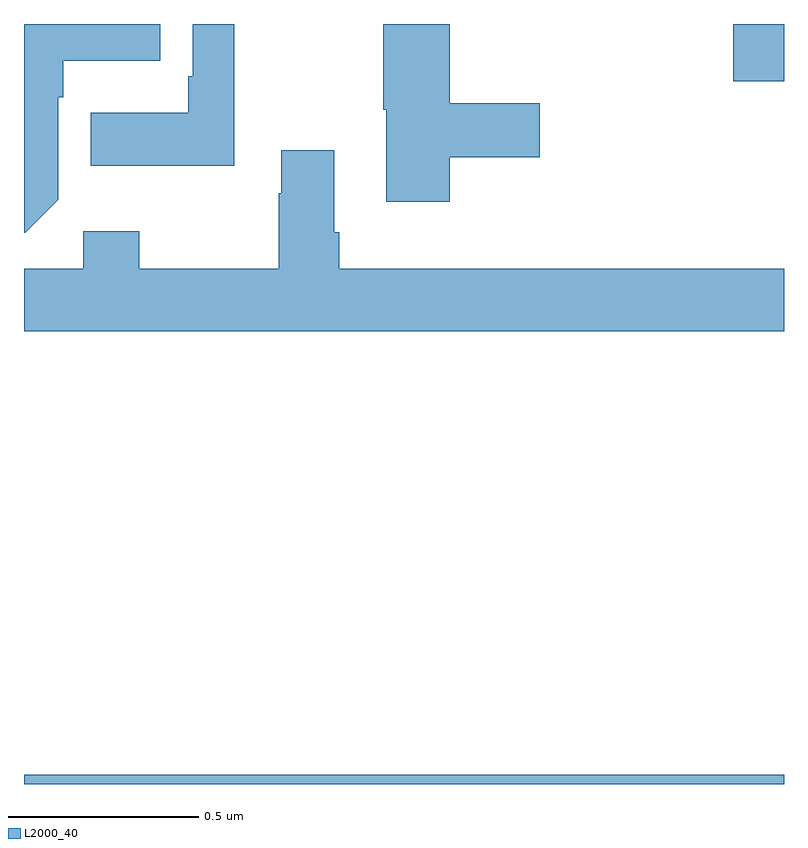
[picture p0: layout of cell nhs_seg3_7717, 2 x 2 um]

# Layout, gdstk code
import gdstk
lib = gdstk.Library(unit=1e-6, precision=1e-09)
def R(c, l, rs):  # rectangles x0, y0, x1, y1
    for r in rs: c.add(gdstk.rectangle(r[:2], r[2:], *l))
def P(c, l, *ps):  # polygons
    for p in ps: c.add(gdstk.Polygon(p, *l))
L2000_40 = (2000, 40)

nhs_seg3_7717 = lib.new_cell('nhs_seg3_7717')
R(nhs_seg3_7717, L2000_40, [(207,690.4,209,690.424), (208.866,692.249,209,692.4)])
P(nhs_seg3_7717, L2000_40, [(208.121,692.05),(208.357,692.05),(208.357,692.192),(208.121,692.192),(208.121,692.4),(207.946,692.4),(207.946,692.175),(207.953,692.175),(207.953,691.932),(208.121,691.932)],
  [(207.553,692.4),(207.444,692.4),(207.444,692.263),(207.432,692.263),(207.432,692.167),(207.175,692.167),(207.175,692.027),(207.553,692.027)],
  [(207.09,691.938),(207.09,692.207),(207.103,692.207),(207.103,692.303),(207.359,692.303),(207.359,692.4),(207,692.4),(207,691.851),(207.003,691.851)],
  [(209,691.756),(207.83,691.756),(207.83,691.852),(207.817,691.852),(207.817,692.068),(207.677,692.068),(207.677,691.955),(207.67,691.955),(207.67,691.756),(207.303,691.756),(207.303,691.855),(207.156,691.855),(207.156,691.756),(207,691.756),(207,691.592),(209,691.592)])

lib.write_gds('nhs_seg3_7717.gds')
